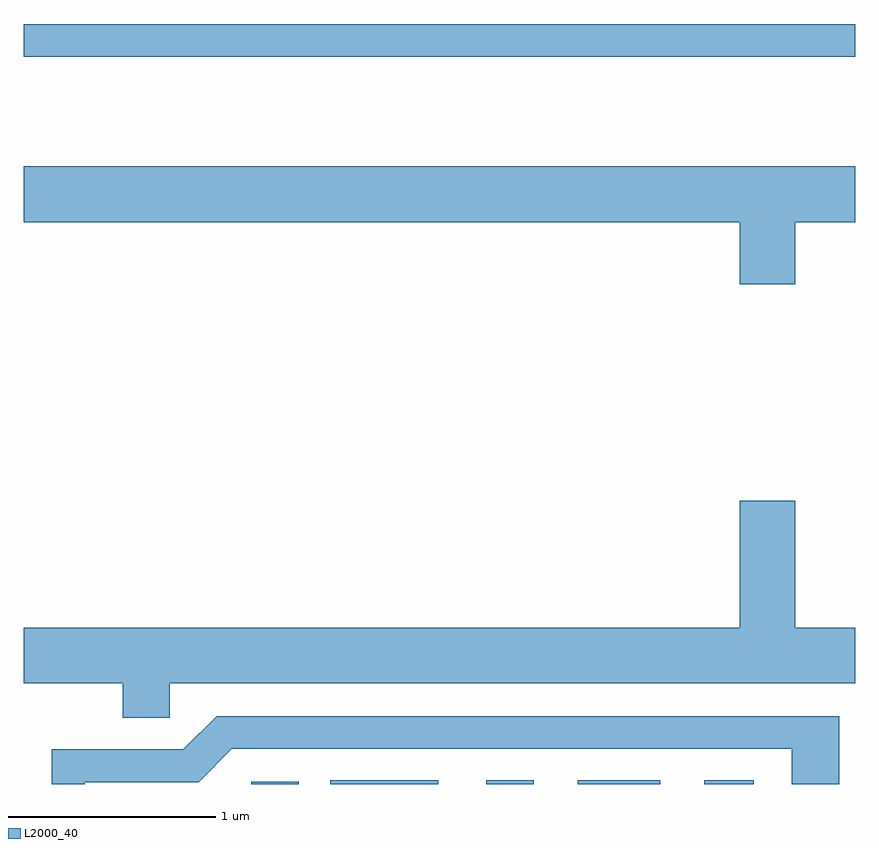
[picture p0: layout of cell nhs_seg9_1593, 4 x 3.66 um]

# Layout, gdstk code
import gdstk
lib = gdstk.Library(unit=1e-6, precision=1e-09)
def R(c, l, rs):  # rectangles x0, y0, x1, y1
    for r in rs: c.add(gdstk.rectangle(r[:2], r[2:], *l))
def P(c, l, *ps):  # polygons
    for p in ps: c.add(gdstk.Polygon(p, *l))
L2000_40 = (2000, 40)

nhs_seg9_1593 = lib.new_cell('nhs_seg9_1593')
R(nhs_seg9_1593, L2000_40, [(232.706,2002.432,232.934,2002.444), (233.086,2002.432,233.604,2002.449), (233.836,2002.432,234.064,2002.449), (234.276,2002.432,234.673,2002.449), (234.886,2002.432,235.123,2002.449), (231.611,2005.931,235.611,2006.089)])
P(nhs_seg9_1593, L2000_40, [(235.324,2005.136),(235.611,2005.136),(235.611,2005.404),(231.611,2005.404),(231.611,2005.136),(235.056,2005.136),(235.056,2004.836),(235.324,2004.836)],
  [(232.314,2002.916),(235.611,2002.916),(235.611,2003.184),(235.324,2003.184),(235.324,2003.794),(235.056,2003.794),(235.056,2003.184),(231.611,2003.184),(231.611,2002.916),(232.086,2002.916),(232.086,2002.751),(232.314,2002.751)],
  [(231.904,2002.441),(232.452,2002.441),(232.612,2002.601),(235.306,2002.601),(235.306,2002.432),(235.534,2002.432),(235.534,2002.759),(232.539,2002.759),(232.379,2002.599),(231.746,2002.599),(231.746,2002.432),(231.904,2002.432)])

lib.write_gds('nhs_seg9_1593.gds')
